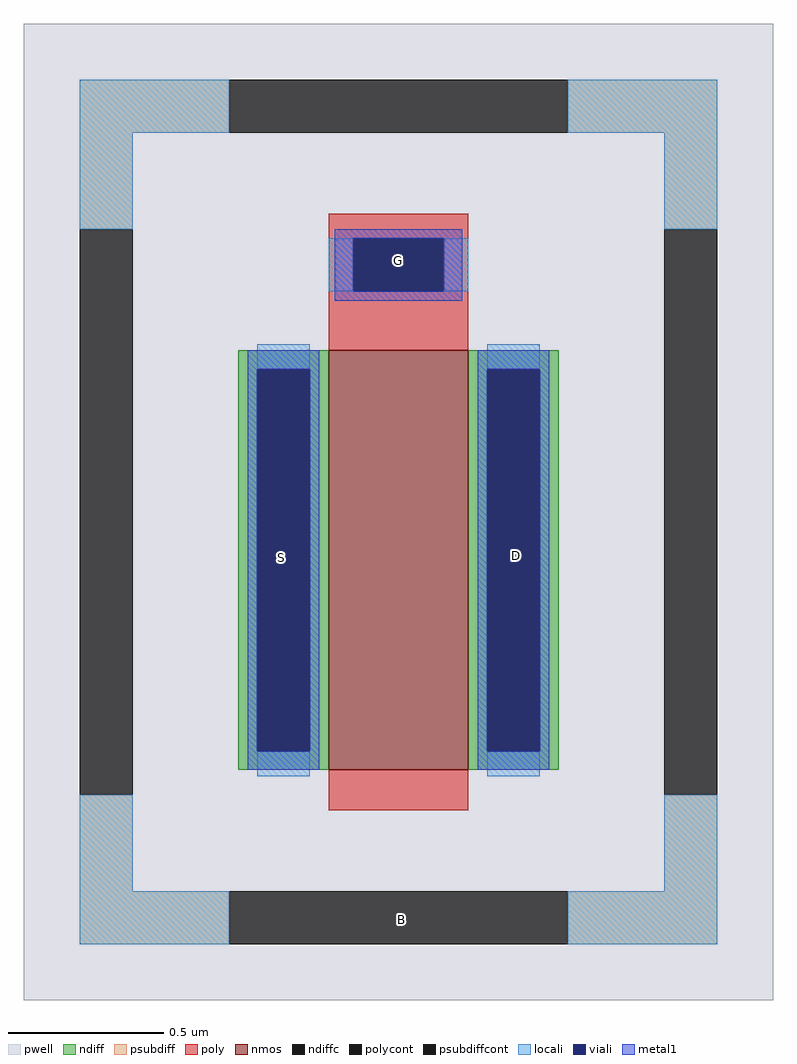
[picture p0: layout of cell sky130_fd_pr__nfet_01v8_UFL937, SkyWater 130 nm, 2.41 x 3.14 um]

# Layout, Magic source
magic
tech sky130A
magscale 1 2
<< pwell >>
rect -241 -314 241 314
<< nmos >>
rect -45 -166 45 104
<< ndiff >>
rect -103 92 -45 104
rect -103 -154 -91 92
rect -57 -154 -45 92
rect -103 -166 -45 -154
rect 45 92 103 104
rect 45 -154 57 92
rect 91 -154 103 92
rect 45 -166 103 -154
<< ndiffc >>
rect -91 -154 -57 92
rect 57 -154 91 92
<< psubdiff >>
rect -205 244 -109 278
rect 109 244 205 278
rect -205 182 -171 244
rect 171 182 205 244
rect -205 -244 -171 -182
rect 171 -244 205 -182
rect -205 -278 -109 -244
rect 109 -278 205 -244
<< psubdiffcont >>
rect -109 244 109 278
rect -205 -182 -171 182
rect 171 -182 205 182
rect -109 -278 109 -244
<< poly >>
rect -45 176 45 192
rect -45 142 -29 176
rect 29 142 45 176
rect -45 104 45 142
rect -45 -192 45 -166
<< polycont >>
rect -29 142 29 176
<< locali >>
rect -205 244 -109 278
rect 109 244 205 278
rect -205 182 -171 244
rect 171 182 205 244
rect -45 142 -29 176
rect 29 142 45 176
rect -91 92 -57 108
rect -91 -170 -57 -154
rect 57 92 91 108
rect 57 -170 91 -154
rect -205 -244 -171 -182
rect 171 -244 205 -182
rect -205 -278 -109 -244
rect 109 -278 205 -244
<< viali >>
rect -29 142 29 176
rect -91 -154 -57 92
rect 57 -154 91 92
<< metal1 >>
rect -41 176 41 182
rect -41 142 -29 176
rect 29 142 41 176
rect -41 136 41 142
rect -97 92 -51 104
rect -97 -154 -91 92
rect -57 -154 -51 92
rect -97 -166 -51 -154
rect 51 92 97 104
rect 51 -154 57 92
rect 91 -154 97 92
rect 51 -166 97 -154
<< labels >>
flabel locali s 2 -262 2 -262 0 FreeSans 480 0 0 0 B
port 4 nsew
flabel metal1 s 0 162 0 162 0 FreeSans 480 0 0 0 G
port 5 nsew
flabel metal1 s 76 -28 76 -28 0 FreeSans 480 0 0 0 D
port 6 nsew
flabel metal1 s -75 -29 -75 -29 0 FreeSans 480 0 0 0 S
port 7 nsew
<< properties >>
string FIXED_BBOX -188 -261 188 261
string gencell sky130_fd_pr__nfet_01v8
string library sky130
string parameters w 1.35 l 0.450 m 1 nf 1 diffcov 100 polycov 100 guard 1 glc 1 grc 1 gtc 1 gbc 1 tbcov 100 rlcov 100 topc 1 botc 0 poverlap 0 doverlap 1 lmin 0.15 wmin 0.42 compatible {sky130_fd_pr__nfet_01v8 sky130_fd_pr__nfet_01v8_lvt  sky130_fd_bs_flash__special_sonosfet_star  sky130_fd_pr__nfet_g5v0d10v5 sky130_fd_pr__nfet_05v0_nvt  sky130_fd_pr__nfet_03v3_nvt} full_metal 1 viasrc 100 viadrn 100 viagate 100 viagb 0 viagr 0 viagl 0 viagt 0
<< end >>
